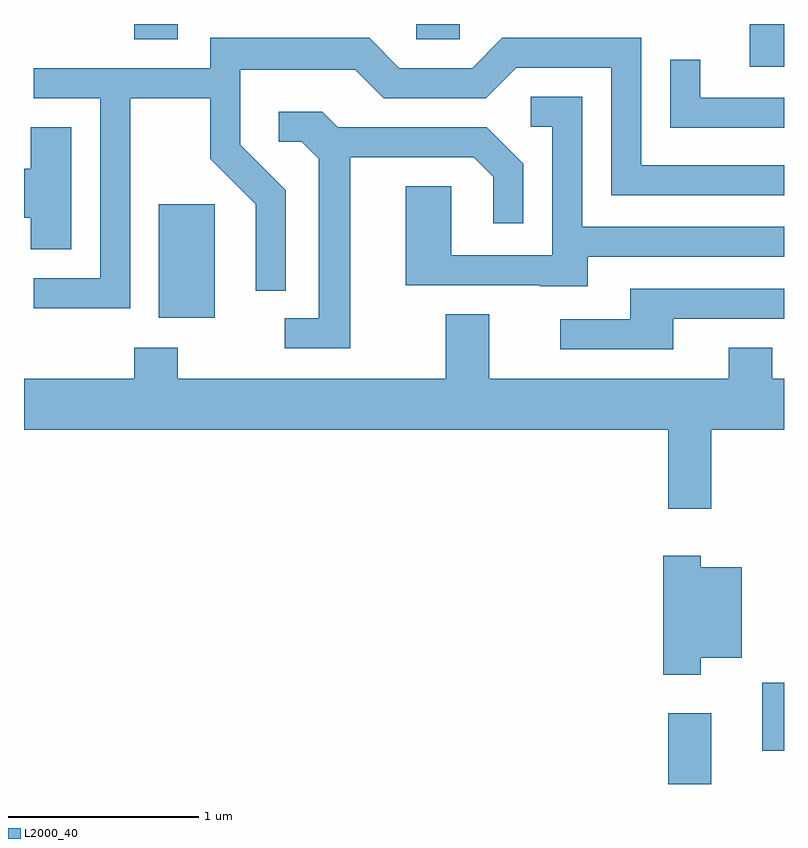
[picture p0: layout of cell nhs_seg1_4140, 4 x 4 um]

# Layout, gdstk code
import gdstk
lib = gdstk.Library(unit=1e-6, precision=1e-09)
def R(c, l, rs):  # rectangles x0, y0, x1, y1
    for r in rs: c.add(gdstk.rectangle(r[:2], r[2:], *l))
def P(c, l, *ps):  # polygons
    for p in ps: c.add(gdstk.Polygon(p, *l))
L2000_40 = (2000, 40)

nhs_seg1_4140 = lib.new_cell('nhs_seg1_4140')
R(nhs_seg1_4140, L2000_40, [(313.001,897.712,313.229,898.084), (313.496,897.888,313.611,898.244), (310.321,900.166,310.614,900.764), (313.431,901.486,313.611,901.712), (310.191,901.631,310.419,901.712), (311.676,901.631,311.904,901.712)])
P(nhs_seg1_4140, L2000_40, [(310.169,901.321),(310.591,901.321),(310.591,901.004),(310.831,900.764),(310.831,900.308),(310.989,900.308),(310.989,900.837),(310.749,901.077),(310.749,901.471),(311.354,901.471),(311.504,901.321),(312.042,901.321),(312.202,901.481),(312.701,901.481),(312.701,900.811),(313.611,900.811),(313.611,900.969),(312.859,900.969),(312.859,901.639),(312.129,901.639),(311.969,901.479),(311.587,901.479),(311.427,901.639),(310.591,901.639),(310.591,901.479),(309.663,901.479),(309.663,901.321),(310.011,901.321),(310.011,900.374),(309.663,900.374),(309.663,900.216),(310.169,900.216)],
  [(313.611,901.324),(313.169,901.324),(313.169,901.523),(313.011,901.523),(313.011,901.166),(313.611,901.166)],
  [(312.579,900.486),(313.611,900.486),(313.611,900.644),(312.549,900.644),(312.549,901.329),(312.278,901.329),(312.278,901.171),(312.391,901.171),(312.391,900.494),(311.859,900.494),(311.859,900.859),(311.621,900.859),(311.621,900.336),(312.325,900.336),(312.325,900.331),(312.579,900.331)],
  [(311.329,901.011),(311.979,901.011),(312.081,900.909),(312.081,900.663),(312.239,900.663),(312.239,900.977),(312.047,901.169),(311.262,901.169),(311.182,901.249),(310.953,901.249),(310.953,901.091),(311.074,901.091),(311.161,901.004),(311.161,900.164),(310.983,900.164),(310.983,900.006),(311.329,900.006)],
  [(309.859,901.169),(309.646,901.169),(309.646,900.949),(309.611,900.949),(309.611,900.691),(309.646,900.691),(309.646,900.526),(309.859,900.526)],
  [(313.029,900.161),(313.611,900.161),(313.611,900.319),(312.801,900.319),(312.801,900.159),(312.433,900.159),(312.433,900.001),(313.029,900.001)],
  [(313.321,900.009),(313.321,899.844),(312.059,899.844),(312.059,900.184),(311.831,900.184),(311.831,899.844),(310.419,899.844),(310.419,900.009),(310.191,900.009),(310.191,899.844),(309.611,899.844),(309.611,899.576),(313.001,899.576),(313.001,899.161),(313.229,899.161),(313.229,899.576),(313.611,899.576),(313.611,899.844),(313.549,899.844),(313.549,900.009)],
  [(313.174,898.376),(313.389,898.376),(313.389,898.854),(313.174,898.854),(313.174,898.914),(312.976,898.914),(312.976,898.286),(313.174,898.286)])

lib.write_gds('nhs_seg1_4140.gds')
